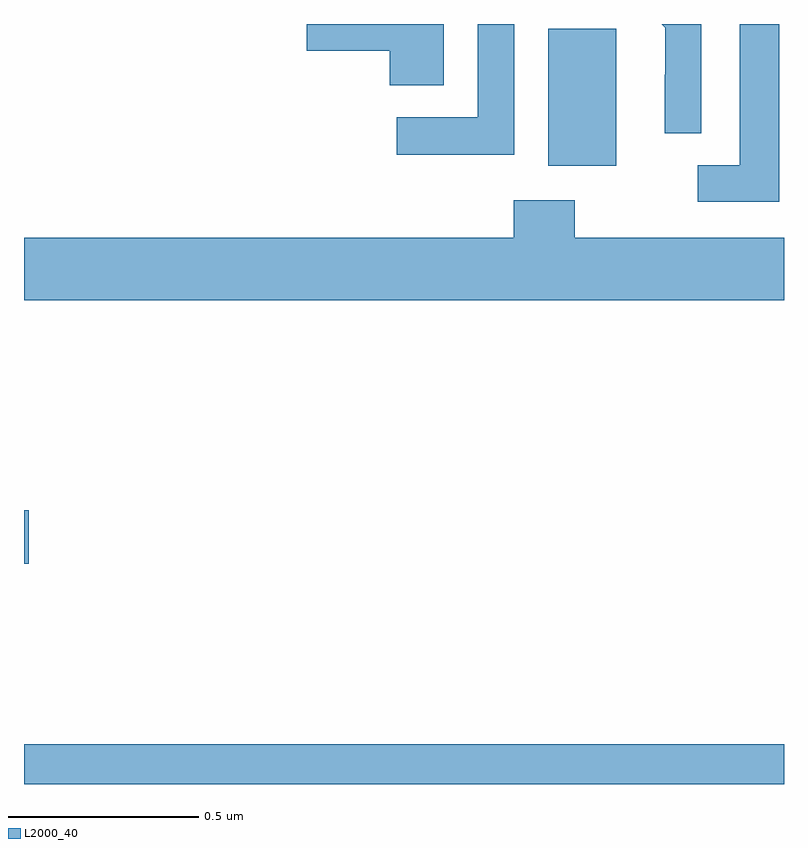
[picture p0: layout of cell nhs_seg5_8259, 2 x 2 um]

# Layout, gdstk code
import gdstk
lib = gdstk.Library(unit=1e-6, precision=1e-09)
def R(c, l, rs):  # rectangles x0, y0, x1, y1
    for r in rs: c.add(gdstk.rectangle(r[:2], r[2:], *l))
def P(c, l, *ps):  # polygons
    for p in ps: c.add(gdstk.Polygon(p, *l))
L2000_40 = (2000, 40)

nhs_seg5_8259 = lib.new_cell('nhs_seg5_8259')
R(nhs_seg5_8259, L2000_40, [(219,876.799,221,876.904), (219,877.378,219.013,877.52), (220.379,878.426,220.558,878.787)])
P(nhs_seg5_8259, L2000_40, [(220.29,878.799),(220.194,878.799),(220.194,878.553),(219.981,878.553),(219.981,878.455),(220.29,878.455)],
  [(220.782,878.799),(220.678,878.799),(220.688,878.789),(220.688,878.666),(220.686,878.666),(220.686,878.512),(220.782,878.512)],
  [(220.105,878.799),(219.744,878.799),(219.744,878.729),(219.962,878.729),(219.962,878.638),(220.105,878.638)],
  [(220.987,878.799),(220.883,878.799),(220.883,878.427),(220.773,878.427),(220.773,878.331),(220.987,878.331)],
  [(221,878.236),(220.449,878.236),(220.449,878.335),(220.289,878.335),(220.289,878.236),(219,878.236),(219,878.072),(221,878.072)])

lib.write_gds('nhs_seg5_8259.gds')
